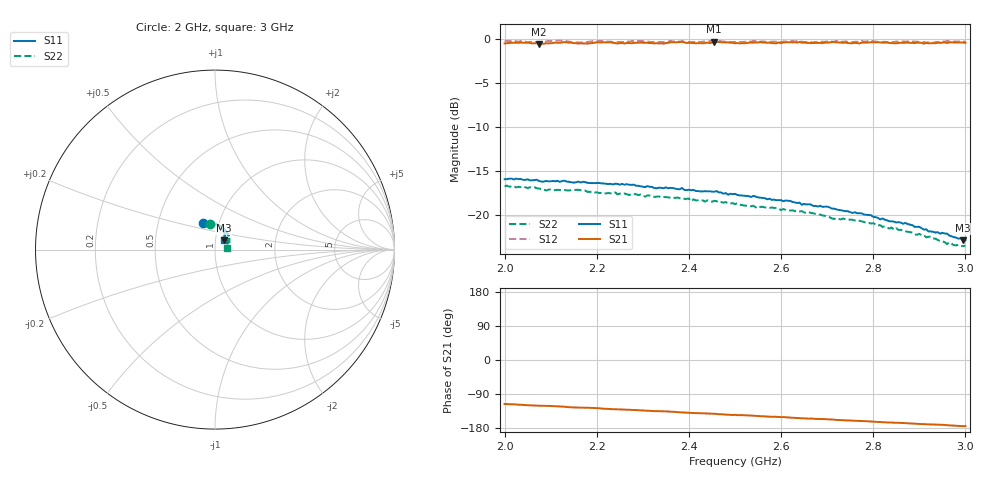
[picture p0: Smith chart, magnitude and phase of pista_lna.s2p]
!Agilent Technologies,E8364A,US41440144,A.06.04.32
!Agilent E8364A: A.06.04.32
!Date: Monday, February 05, 2018 12:07:58
!Correction: S11(Full 2 Port(1,2)) S21(Full 2 Port(1,2)) S12(Full 2 Port(1,2)) S22(Full 2 Port(1,2))
!S2P File: Measurements: S11, S21, S12, S22:
# Hz S  dB  R 50
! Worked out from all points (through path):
!   201 points, 2 GHz to 3 GHz, reference 50 ohm
!   highest |S21| = -0.29 dB at 2.455 GHz (marker M1); lowest = -0.5 dB at 2.075 GHz (marker M2)
!   group delay of S21, straight-line fit = 163 ps
!   lowest |S11| = -22.9 dB at 2.995 GHz (marker M3), VSWR 1.15, Z = 54.9 + j5.71 ohm
!   |S11| at or under -10 dB: start of sweep to end of sweep
!   |S22| runs from -23.6 to -16.7 dB; largest |S21 - S12| = 0.031
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2e9  -15.95 113.7  -0.47 -116.1  -0.25 -115.7  -16.75 100.3
2.025e9  -15.87 111.2  -0.40 -117.4  -0.24 -118.0  -16.88 97.5
2.075e9  -16.16 108.3  -0.53 -120.7  -0.35 -119.8  -17.01 91.5
2.13e9  -16.12 104.1  -0.32 -123.3  -0.16 -124.0  -17.19 87.1
2.17e9  -16.23 100.8  -0.47 -125.6  -0.35 -125.4  -17.24 83.6
2.295e9  -16.76 91.6  -0.37 -133.0  -0.19 -133.3  -17.70 73.4
2.335e9  -16.91 88.8  -0.48 -135.2  -0.32 -135.0  -17.91 69.8
2.385e9  -16.95 85.1  -0.29 -138.4  -0.21 -138.4  -18.18 64.8
2.415e9  -17.29 82.9  -0.46 -140.2  -0.37 -139.6  -18.36 62.9
2.455e9  -17.37 80.1  -0.29 -141.9  -0.15 -142.5  -18.40 58.1
2.5e9  -17.61 77.0  -0.46 -144.8  -0.34 -145.1  -18.79 54.2
2.54e9  -17.84 73.8  -0.37 -147.0  -0.19 -146.9  -18.97 51.1
2.57e9  -18.24 71.5  -0.40 -149.3  -0.29 -149.6  -19.19 48.3
2.625e9  -18.54 67.7  -0.36 -152.5  -0.20 -152.3  -19.49 43.3
2.67e9  -19.00 65.0  -0.42 -155.0  -0.36 -154.7  -19.83 38.6
2.705e9  -19.15 62.4  -0.37 -156.7  -0.20 -156.9  -20.27 34.9
2.79e9  -20.00 57.3  -0.36 -161.9  -0.20 -161.9  -20.91 27.5
2.835e9  -20.74 54.4  -0.42 -164.9  -0.35 -164.1  -21.57 23.5
2.88e9  -21.13 51.0  -0.40 -167.4  -0.20 -167.4  -21.97 19.0
2.93e9  -21.94 48.7  -0.44 -170.2  -0.37 -169.7  -22.68 12.0
2.995e9  -22.90 46.2  -0.37 -174.6  -0.27 -174.5  -23.57 6.8
3e9  -22.89 47.0  -0.41 -174.3  -0.27 -174.5  -23.51 6.6
